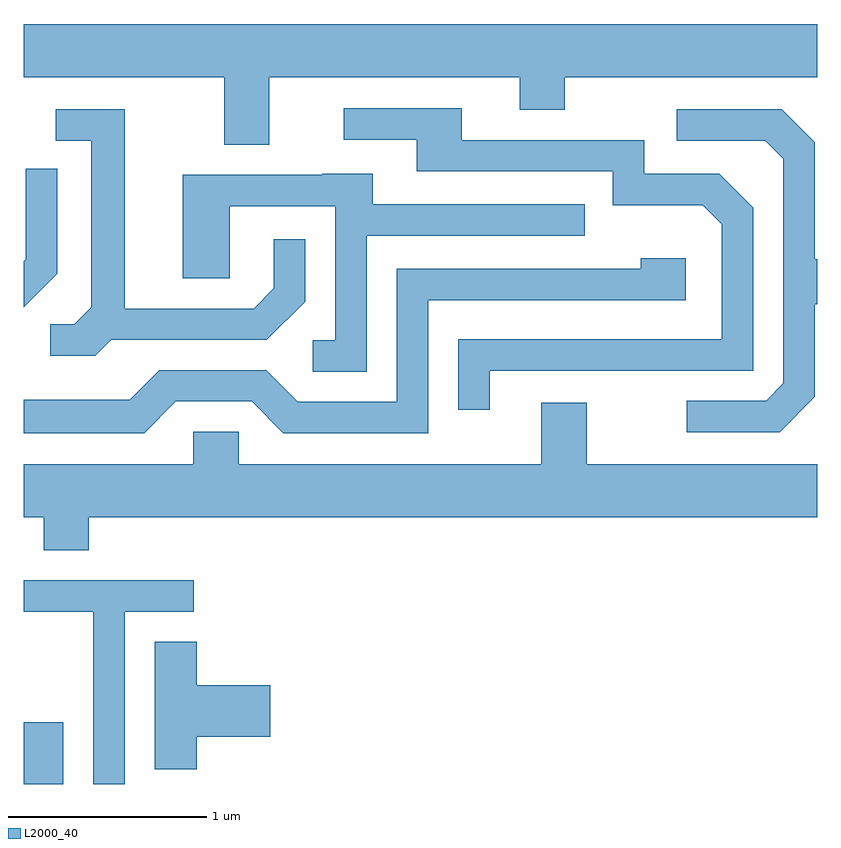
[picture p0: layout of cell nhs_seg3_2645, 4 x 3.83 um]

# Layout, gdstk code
import gdstk
lib = gdstk.Library(unit=1e-6, precision=1e-09)
def R(c, l, rs):  # rectangles x0, y0, x1, y1
    for r in rs: c.add(gdstk.rectangle(r[:2], r[2:], *l))
def P(c, l, *ps):  # polygons
    for p in ps: c.add(gdstk.Polygon(p, *l))
L2000_40 = (2000, 40)

nhs_seg3_2645 = lib.new_cell('nhs_seg3_2645')
R(nhs_seg3_2645, L2000_40, [(261.611,1237.892,261.809,1238.204)])
P(nhs_seg3_2645, L2000_40, [(262.849,1241.456),(264.111,1241.456),(264.111,1241.291),(264.339,1241.291),(264.339,1241.456),(265.611,1241.456),(265.611,1241.724),(261.611,1241.724),(261.611,1241.456),(262.621,1241.456),(262.621,1241.116),(262.849,1241.116)],
  [(263.959,1239.976),(265.289,1239.976),(265.289,1240.797),(265.117,1240.969),(264.739,1240.969),(264.739,1241.139),(263.819,1241.139),(263.819,1241.299),(263.223,1241.299),(263.223,1241.141),(263.591,1241.141),(263.591,1240.981),(264.581,1240.981),(264.581,1240.811),(265.034,1240.811),(265.131,1240.714),(265.131,1240.134),(263.801,1240.134),(263.801,1239.778),(263.959,1239.778)],
  [(262.052,1240.131),(262.837,1240.131),(263.029,1240.324),(263.029,1240.638),(262.871,1240.638),(262.871,1240.392),(262.769,1240.289),(262.119,1240.289),(262.119,1241.294),(261.772,1241.294),(261.772,1241.136),(261.951,1241.136),(261.951,1240.297),(261.864,1240.209),(261.743,1240.209),(261.743,1240.051),(261.972,1240.051)],
  [(265.599,1239.844),(265.599,1240.311),(265.611,1240.311),(265.611,1240.539),(265.599,1240.539),(265.599,1241.127),(265.432,1241.294),(264.903,1241.294),(264.903,1241.136),(265.349,1241.136),(265.441,1241.044),(265.441,1239.912),(265.354,1239.824),(264.953,1239.824),(264.953,1239.666),(265.422,1239.666)],
  [(261.779,1240.464),(261.779,1240.993),(261.621,1240.993),(261.621,1240.537),(261.611,1240.527),(261.611,1240.296)],
  [(263.339,1240.656),(264.438,1240.656),(264.438,1240.814),(263.369,1240.814),(263.369,1240.969),(263.115,1240.969),(263.115,1240.964),(262.411,1240.964),(262.411,1240.441),(262.649,1240.441),(262.649,1240.806),(263.181,1240.806),(263.181,1240.129),(263.068,1240.129),(263.068,1239.971),(263.339,1239.971)],
  [(262.377,1239.821),(262.759,1239.821),(262.919,1239.661),(263.649,1239.661),(263.649,1240.331),(264.949,1240.331),(264.949,1240.544),(264.721,1240.544),(264.721,1240.489),(263.491,1240.489),(263.491,1239.819),(262.992,1239.819),(262.832,1239.979),(262.294,1239.979),(262.144,1239.829),(261.611,1239.829),(261.611,1239.661),(262.217,1239.661)],
  [(261.611,1239.236),(261.711,1239.236),(261.711,1239.071),(261.939,1239.071),(261.939,1239.236),(265.611,1239.236),(265.611,1239.504),(264.449,1239.504),(264.449,1239.814),(264.221,1239.814),(264.221,1239.504),(262.694,1239.504),(262.694,1239.669),(262.466,1239.669),(262.466,1239.504),(261.611,1239.504)],
  [(262.119,1238.761),(262.468,1238.761),(262.468,1238.919),(261.611,1238.919),(261.611,1238.761),(261.961,1238.761),(261.961,1237.892),(262.119,1237.892)],
  [(262.484,1238.131),(262.854,1238.131),(262.854,1238.389),(262.484,1238.389),(262.484,1238.609),(262.271,1238.609),(262.271,1237.966),(262.484,1237.966)])

lib.write_gds('nhs_seg3_2645.gds')
